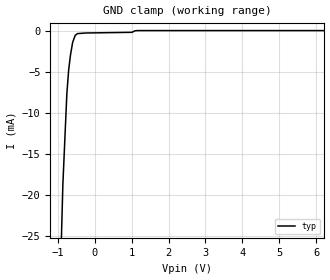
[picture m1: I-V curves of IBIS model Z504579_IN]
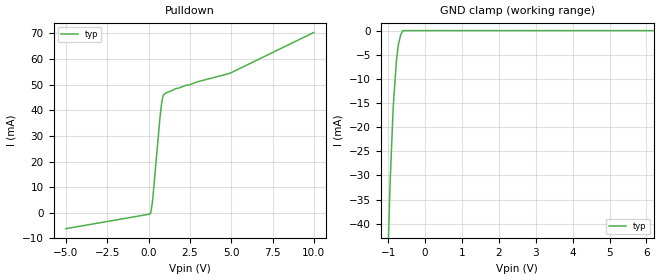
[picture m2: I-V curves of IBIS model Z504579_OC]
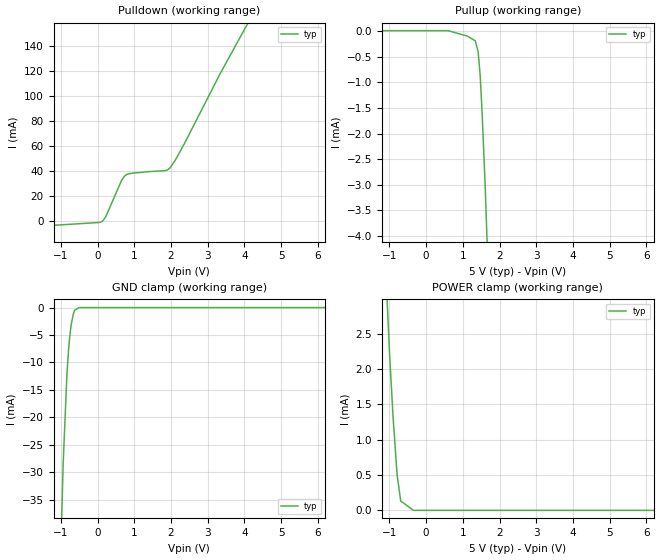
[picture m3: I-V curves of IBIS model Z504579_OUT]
| YOU ARE ONLY AUTHORIZED TO USE THIS SOFTWARE
| ACCORDING TO LICENSOR'S LICENSE RESTRICTIONS.
[IBIS Ver] 3.1
[File Name] sn74ls181dw.ibs
[File Rev] 2.0
[Source] Measured and created by ICX Technology
[Date] Friday 7/14/00 9:08:17 AM
[Copyright]
| (C) COPYRIGHT 1993-2000
| MENTOR GRAPHICS CORPORATION
| ICX STANDARD LIBRARY, ICX PROJECT MODELING,
| ICX CUSTOM MODELING, ICX VENDOR MODEL
| ALL RIGHTS RESERVED.
| THE FOLLOWING ARE TRADEMARKS OR SERVICE MARKS OF
| MENTOR GRAPHICS CORPORATION:ICX (R), ICX STANDARD
| LIBRARY(R), ICX PROJECT MODELING(R), ICX CUSTOM
| MODELING(R), qualityIBIS(TM), MODELVIEWER(TM),
| AND MODELEDITOR(TM)
| ALL COPIES OF SOFTWARE, INCLUDING BUT NOT LIMITED TO
| ANY MODIFICATIONS, ENHANCEMENTS OR DERIVATIVE WORKS,
| MUST CONTAIN ALL MENTOR GRAPHICS CORPORATION'S
| NOTICES AND LEGENDS, INCLUDING THOSE EMBEDDED IN
| SOFTWARE AND THOSE AFFIXED TO SOFTWARE MEDIUM
| AND CONTAINER, AS RECEIVED FROM MENTOR GRAPHICS
| CORPORATION.
|  ZAP Model Builder 2.7
[Component] SN74LS181DW
[Manufacturer] OnSemiconductor
[Package]
| variable   typ   min   max
R_pkg  .18ohms NA NA
L_pkg  4.67nH NA NA
C_pkg  .637pF NA NA
[Pin] signal_name  model_name  R_pin  L_pin C_pin
1 _B0 Z504579_IN .19 5.862n .712p
2 _A0 Z504579_IN .186 5.372n .682p
3 S3 Z504579_IN .182 4.892n .652p
4 S2 Z504579_IN .178 4.422n .622p
5 S1 Z504579_IN .174 3.962n .592p
6 S0 Z504579_IN .17 3.512n .562p
7 CN Z504579_IN .17 3.512n .562p
8 M Z504579_IN .174 3.962n .592p
9 _F0 Z504579_OUT .178 4.422n .622p
10 _F1 Z504579_OUT .182 4.892n .652p
11 _F2 Z504579_OUT .186 5.372n .682p
12 GND GND .19 5.862n .712p
13 _F3 Z504579_OUT .19 5.862n .712p
14 A_EQ_B Z504579_OC .186 5.372n .682p
15 _P Z504579_OUT .182 4.892n .652p
16 CN_PL_X Z504579_OUT .178 4.422n .622p
17 _Q Z504579_OUT .174 3.962n .592p
18 _B3 Z504579_IN .17 3.512n .562p
19 _A3 Z504579_IN .17 3.512n .562p
20 _B2 Z504579_IN .174 3.962n .592p
21 _A2 Z504579_IN .178 4.422n .622p
22 _B1 Z504579_IN .182 4.892n .652p
23 _A1 Z504579_IN .186 5.372n .682p
24 VCC POWER .19 5.862n .712p
| Models and submodels in the file (3): Z504579_IN (Input), Z504579_OC (Open_sink), Z504579_OUT (Output)
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| (C) COPYRIGHT 1993-2000
| MENTOR GRAPHICS CORPORATION
| ICX STANDARD LIBRARY, ICX PROJECT MODELING,
| ICX CUSTOM MODELING, ICX VENDOR MODEL
| ALL RIGHTS RESERVED.
| THE FOLLOWING ARE TRADEMARKS OR SERVICE MARKS OF
| MENTOR GRAPHICS CORPORATION:ICX (R), ICX STANDARD
| LIBRARY(R), ICX PROJECT MODELING(R), ICX CUSTOM
| MODELING(R), qualityIBIS(TM), MODELVIEWER(TM),
| AND MODELEDITOR(TM)
| ALL COPIES OF SOFTWARE, INCLUDING BUT NOT LIMITED TO
| ANY MODIFICATIONS, ENHANCEMENTS OR DERIVATIVE WORKS,
| MUST CONTAIN ALL MENTOR GRAPHICS CORPORATION'S
| NOTICES AND LEGENDS, INCLUDING THOSE EMBEDDED IN
| SOFTWARE AND THOSE AFFIXED TO SOFTWARE MEDIUM
| AND CONTAINER, AS RECEIVED FROM MENTOR GRAPHICS
| CORPORATION.
| Model Application Version 1.89 2/18/99.
[Model] Z504579_IN
Model_type Input
Vinl = 800.0mV
Vinh = 2.000V
C_comp 4.000pF NA NA
| variable typ   min   max
[Voltage Range] 5.000V NA NA
[GND Clamp Reference] 0.000V NA NA
[POWER Clamp Reference] 5.000V NA NA
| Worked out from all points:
|   GND clamp passes 1 mA (typ) near -0.56 V on its own axis
[GND Clamp]
-5V       -702.3mA   NA         NA
-859.2mV  -18.67mA   NA         NA
-751.4mV  -7.66mA    NA         NA
-702.4mV  -4.789mA   NA         NA
-654.9mV  -3.021mA   NA         NA
-595.3mV  -1.454mA   NA         NA
-526.1mV  -593.5uA   NA         NA
-463.8mV  -376.5uA   NA         NA
1.011V    -221.1uA   NA         NA
1.097V    -27.03uA   NA         NA
1.187V    -10.55uA   NA         NA
10V       -9.911uA   NA         NA
[POWER Clamp]
-5V       0A         NA         NA
10V       0A         NA         NA
| (C) COPYRIGHT 1993-2000
| MENTOR GRAPHICS CORPORATION
| ICX STANDARD LIBRARY, ICX PROJECT MODELING,
| ICX CUSTOM MODELING, ICX VENDOR MODEL
| ALL RIGHTS RESERVED.
| THE FOLLOWING ARE TRADEMARKS OR SERVICE MARKS OF
| MENTOR GRAPHICS CORPORATION:ICX (R), ICX STANDARD
| LIBRARY(R), ICX PROJECT MODELING(R), ICX CUSTOM
| MODELING(R), qualityIBIS(TM), MODELVIEWER(TM),
| AND MODELEDITOR(TM)
| ALL COPIES OF SOFTWARE, INCLUDING BUT NOT LIMITED TO
| ANY MODIFICATIONS, ENHANCEMENTS OR DERIVATIVE WORKS,
| MUST CONTAIN ALL MENTOR GRAPHICS CORPORATION'S
| NOTICES AND LEGENDS, INCLUDING THOSE EMBEDDED IN
| SOFTWARE AND THOSE AFFIXED TO SOFTWARE MEDIUM
| AND CONTAINER, AS RECEIVED FROM MENTOR GRAPHICS
| CORPORATION.
| Model Application Version 1.89 2/18/99.
[Model] Z504579_OC
Model_type Open_sink
Vref=5.000V
Rref=2.001kohms
Cref=15.00pF
Vmeas=1.300V
C_comp 8.000pF NA NA
| variable typ   min   max
[Voltage Range] 5.000V NA NA
[POWER Clamp Reference] 5.000V NA NA
[Pullup Reference] 5.000V NA NA
[Pulldown Reference] 0.000V NA NA
[GND Clamp Reference] 0.000V NA NA
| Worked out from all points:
|   slope of the pulldown table from 0 to 0.75 V, typ, clamps not added: 18.2 ohm
|   GND clamp passes 1 mA (typ) near -0.67 V on its own axis
[GND Clamp]
-5V       -1.396A    NA         NA
-1.044V   -55.72mA   NA         NA
-952.1mV  -31.85mA   NA         NA
-868.5mV  -16.05mA   NA         NA
-781mV    -6.326mA   NA         NA
-726.8mV  -2.897mA   NA         NA
-664.1mV  -930.8uA   NA         NA
-607.3mV  -32.56uA   NA         NA
-455.5mV  0A         NA         NA
10V       0A         NA         NA
[Pulldown]
-5V       -6.224mA   NA         NA
107.4mV   -270.8uA   NA         NA
151.3mV   547.9uA    NA         NA
244.1mV   4.868mA    NA         NA
684.6mV   36.95mA    NA         NA
781.3mV   42.48mA    NA         NA
856.8mV   45.2mA     NA         NA
893.6mV   45.87mA    NA         NA
1.035V    46.74mA    NA         NA
2.251V    49.76mA    NA         NA
4.917V    54.45mA    NA         NA
10V       70.42mA    NA         NA
[POWER Clamp]
-5V       0A         NA         NA
10V       0A         NA         NA
[Ramp]
| variable typ min max
dV/dt_r 2.743/8.228n NA NA
dV/dt_f 2.743/6.377n NA NA
R_load = 250.0Ohms
| (C) COPYRIGHT 1993-2000
| MENTOR GRAPHICS CORPORATION
| ICX STANDARD LIBRARY, ICX PROJECT MODELING,
| ICX CUSTOM MODELING, ICX VENDOR MODEL
| ALL RIGHTS RESERVED.
| THE FOLLOWING ARE TRADEMARKS OR SERVICE MARKS OF
| MENTOR GRAPHICS CORPORATION:ICX (R), ICX STANDARD
| LIBRARY(R), ICX PROJECT MODELING(R), ICX CUSTOM
| MODELING(R), qualityIBIS(TM), MODELVIEWER(TM),
| AND MODELEDITOR(TM)
| ALL COPIES OF SOFTWARE, INCLUDING BUT NOT LIMITED TO
| ANY MODIFICATIONS, ENHANCEMENTS OR DERIVATIVE WORKS,
| MUST CONTAIN ALL MENTOR GRAPHICS CORPORATION'S
| NOTICES AND LEGENDS, INCLUDING THOSE EMBEDDED IN
| SOFTWARE AND THOSE AFFIXED TO SOFTWARE MEDIUM
| AND CONTAINER, AS RECEIVED FROM MENTOR GRAPHICS
| CORPORATION.
| Model Application Version 1.89 2/18/99.
[Model] Z504579_OUT
Model_type Output
Vref=5.000V
Rref=2.000kohms
Cref=15.00pF
Vmeas=1.300V
C_comp 8.000pF NA NA
| variable typ   min   max
[Voltage Range] 5.000V NA NA
[POWER Clamp Reference] 5.000V NA NA
[Pullup Reference] 5.000V NA NA
[Pulldown Reference] 0.000V NA NA
[GND Clamp Reference] 0.000V NA NA
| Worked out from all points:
|   slope of the pulldown table from 0 to 0.75 V, typ, clamps not added: 20 ohm
|   slope of the pullup table from 0 to 0.75 V, typ, clamps not added: 24.8 kohm
|   GND clamp passes 1 mA (typ) near -0.65 V on its own axis
|   POWER clamp passes 1 mA (typ) near -0.86 V on its own axis
[GND Clamp]
-5V       -1.321A    NA         NA
-1.079V   -63.44mA   NA         NA
-937.4mV  -28.4mA    NA         NA
-833.9mV  -12mA      NA         NA
-780.2mV  -6.791mA   NA         NA
-725.3mV  -3.364mA   NA         NA
-664.1mV  -1.263mA   NA         NA
-625mV    -489uA     NA         NA
-500mV    0A         NA         NA
10V       0A         NA         NA
[Pulldown]
-5V       -10.21mA   NA         NA
87.89mV   -777.9uA   NA         NA
151.3mV   512.6uA    NA         NA
224.6mV   3.667mA    NA         NA
651mV     32.43mA    NA         NA
786.2mV   37.24mA    NA         NA
1.841V    40.38mA    NA         NA
1.981V    42.86mA    NA         NA
2.129V    49.37mA    NA         NA
2.378V    62.75mA    NA         NA
3.33V     117.4mA    NA         NA
10V       473.9mA    NA         NA
[Pullup]
-5V       7.04uA     NA         NA
601mV     7.04uA     NA         NA
1.123V    -99.07uA   NA         NA
1.338V    -190.8uA   NA         NA
1.416V    -402.6uA   NA         NA
1.47V     -845.2uA   NA         NA
1.524V    -1.579mA   NA         NA
1.609V    -3.038mA   NA         NA
10V       -176.8mA   NA         NA
[POWER Clamp]
-5V       47.53mA    NA         NA
-995mV    2.207mA    NA         NA
-901mV    1.318mA    NA         NA
-791mV    505.1uA    NA         NA
-693mV    133.3uA    NA         NA
-346.5mV  0A         NA         NA
10V       0A         NA         NA
[Ramp]
| variable typ min max
dV/dt_r 1.867/12.28n NA NA
dV/dt_f 1.867/2.360n NA NA
R_load = 500.0Ohms
